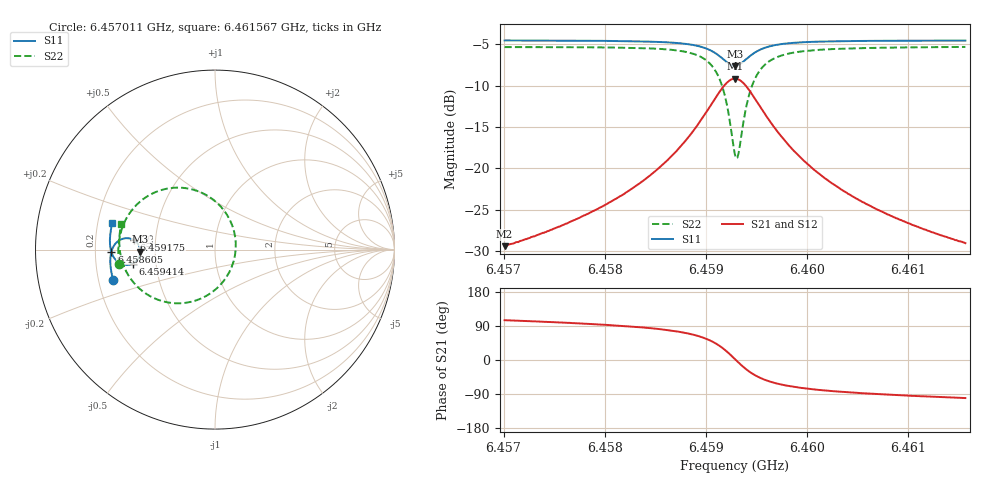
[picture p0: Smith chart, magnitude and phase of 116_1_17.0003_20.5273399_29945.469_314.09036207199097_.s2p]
#  HZ  S  RI  R  50.00
! Rohde & Schwarz Vector Network Analyzer
! Rohde-Schwarz,ZNB20-2Port,1311601062101988,3.16
! Created: UTC 3/20/2024, 10:57:14 PM
! freq[Hz]  re:S11  im:S11  re:S21  im:S21  re:S12  im:S12  re:S22  im:S22
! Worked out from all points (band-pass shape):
!   401 points, 6.457011 GHz to 6.461567 GHz, reference 50 ohm
!   highest |S21| = -9.16 dB at 6.459289 GHz (marker M1); lowest = -29.4 dB at 6.457011 GHz (marker M2)
!   |S21| within 3 dB of the highest: 6.459061 GHz to 6.459517 GHz (455.9 kHz wide, 0.00706 % of centre)
!   lowest |S11| = -7.6 dB at 6.459289 GHz (marker M3), VSWR 2.42, Z = 20.6 - j0.551 ohm
!   |S11| at or under -10 dB: nowhere
!   |S22| runs from -18.8 to -5.3 dB; largest |S21 - S12| = 0.014
!   S11 on the Smith chart (normalised r, x): 6.457011 GHz: 0.26, -0.14; 6.458605 GHz: 0.27, -0.01; 6.459175 GHz: 0.38, +0.05; 6.459414 GHz: 0.37, -0.07; 6.461567 GHz: 0.26, +0.12
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6.4570107e9  -0.5668 -0.171  -0.00882 0.0328  -0.0071 0.0327  -0.5337 -0.0813
6.4577739e9  -0.5806 -0.104  -0.00547 0.051  -0.00287 0.0502  -0.5384 0.00843
6.458184e9  -0.5835 -0.0628  0.000289 0.0697  0.00347 0.0684  -0.5304 0.0736
6.4585371e9  -0.5795 -0.0205  0.0147 0.0997  0.0185 0.0969  -0.504 0.1535
6.4586054e9  -0.5772 -0.0109  0.02 0.1081  0.024 0.1049  -0.4939 0.1735
6.4587991e9  -0.5646 0.0196  0.0467 0.1392  0.0509 0.1343  -0.4435 0.2429
6.4589472e9  -0.5416 0.0459  0.0925 0.1698  0.0958 0.1632  -0.3591 0.3071
6.4590839e9  -0.4973 0.0635  0.1807 0.1863  0.1815 0.179  -0.1987 0.3453
6.459175e9  -0.4522 0.0531  0.2712 0.1546  0.2715 0.1488  -0.0313 0.2934
6.4592433e9  -0.4227 0.0205  0.332 0.0819  0.3342 0.0767  0.0843 0.1622
6.4592889e9  -0.4158 -0.011  0.3481 0.0134  0.352 0.00638  0.1158 0.0342
6.4593003e9  -0.4163 -0.0192  0.348 -0.00454  0.3518 -0.0121  0.1152 0.000393
6.4593231e9  -0.4198 -0.035  0.3423 -0.0396  0.3463 -0.0488  0.1036 -0.0657
6.4593686e9  -0.4357 -0.0613  0.3132 -0.0999  0.3155 -0.1117  0.0448 -0.1791
6.4594142e9  -0.4579 -0.0778  0.2708 -0.1411  0.2698 -0.1543  -0.0412 -0.2538
6.4595053e9  -0.5018 -0.085  0.1852 -0.1721  0.1791 -0.1837  -0.2112 -0.2992
6.4596534e9  -0.546 -0.0643  0.0968 -0.158  0.0882 -0.1641  -0.3793 -0.2488
6.4598129e9  -0.5678 -0.0369  0.0518 -0.1297  0.0441 -0.1325  -0.4597 -0.1761
6.4600521e9  -0.5808 -0.00118  0.0224 -0.0979  0.0166 -0.0986  -0.5076 -0.0935
6.4603938e9  -0.5855 0.0396  0.00641 -0.071  0.00216 -0.0704  -0.529 -0.0142
6.4608153e9  -0.5837 0.0821  -0.00143 -0.0523  -0.00425 -0.0515  -0.5331 0.0538
6.4615671e9  -0.572 0.149  -0.00641 -0.0348  -0.00817 -0.0339  -0.5219 0.1431
